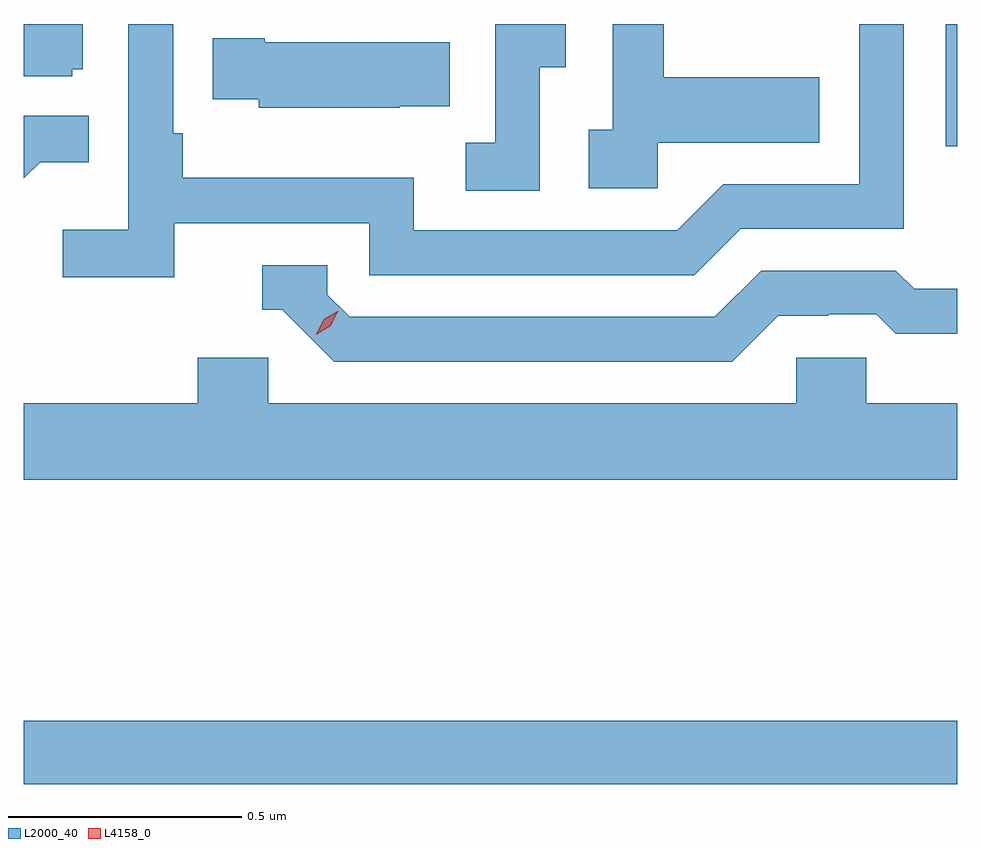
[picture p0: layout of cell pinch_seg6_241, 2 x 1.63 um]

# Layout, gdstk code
import gdstk
lib = gdstk.Library(unit=1e-6, precision=1e-09)
def R(c, l, rs):  # rectangles x0, y0, x1, y1
    for r in rs: c.add(gdstk.rectangle(r[:2], r[2:], *l))
def P(c, l, *ps):  # polygons
    for p in ps: c.add(gdstk.Polygon(p, *l))
L2000_40 = (2000, 40)
L4158_0 = (4158, 0)

pinch_seg6_241 = lib.new_cell('pinch_seg6_241')
R(pinch_seg6_241, L2000_40, [(1105.768,926.704,1107.768,926.84), (1107.744,928.071,1107.768,928.333)])
P(pinch_seg6_241, L2000_40, [(1105.872,928.236),(1105.894,928.236),(1105.894,928.333),(1105.768,928.333),(1105.768,928.221),(1105.872,928.221)],
  [(1107.126,928.079),(1107.473,928.079),(1107.473,928.219),(1107.139,928.219),(1107.139,928.333),(1107.03,928.333),(1107.03,928.106),(1106.979,928.106),(1106.979,927.981),(1107.126,927.981)],
  [(1106.874,928.24),(1106.929,928.24),(1106.929,928.333),(1106.778,928.333),(1106.778,928.079),(1106.715,928.079),(1106.715,927.976),(1106.874,927.976)],
  [(1106.09,927.906),(1106.508,927.906),(1106.508,927.795),(1107.205,927.795),(1107.304,927.894),(1107.654,927.894),(1107.654,928.333),(1107.558,928.333),(1107.558,927.99),(1107.267,927.99),(1107.168,927.891),(1106.604,927.891),(1106.604,928.003),(1106.108,928.003),(1106.108,928.099),(1106.088,928.099),(1106.088,928.333),(1105.992,928.333),(1105.992,927.892),(1105.851,927.892),(1105.851,927.79),(1106.09,927.79)],
  [(1106.573,928.157),(1106.681,928.157),(1106.681,928.294),(1106.284,928.294),(1106.284,928.302),(1106.173,928.302),(1106.173,928.172),(1106.271,928.172),(1106.271,928.154),(1106.573,928.154)],
  [(1105.803,928.037),(1105.907,928.037),(1105.907,928.136),(1105.768,928.136),(1105.768,928.002)],
  [(1107.385,927.708),(1107.492,927.708),(1107.492,927.711),(1107.595,927.711),(1107.637,927.669),(1107.768,927.669),(1107.768,927.765),(1107.676,927.765),(1107.637,927.804),(1107.348,927.804),(1107.249,927.705),(1106.466,927.705),(1106.418,927.753),(1106.418,927.816),(1106.279,927.816),(1106.279,927.72),(1106.322,927.72),(1106.433,927.609),(1107.286,927.609)],
  [(1107.768,927.52),(1107.573,927.52),(1107.573,927.618),(1107.423,927.618),(1107.423,927.52),(1106.292,927.52),(1106.292,927.618),(1106.141,927.618),(1106.141,927.52),(1105.768,927.52),(1105.768,927.356),(1107.768,927.356)])
P(pinch_seg6_241, L4158_0, [(1106.395,927.667),(1106.395,927.668),(1106.411,927.7),(1106.442,927.718),(1106.442,927.718),(1106.442,927.718),(1106.426,927.686),(1106.395,927.667)])

lib.write_gds('pinch_seg6_241.gds')
